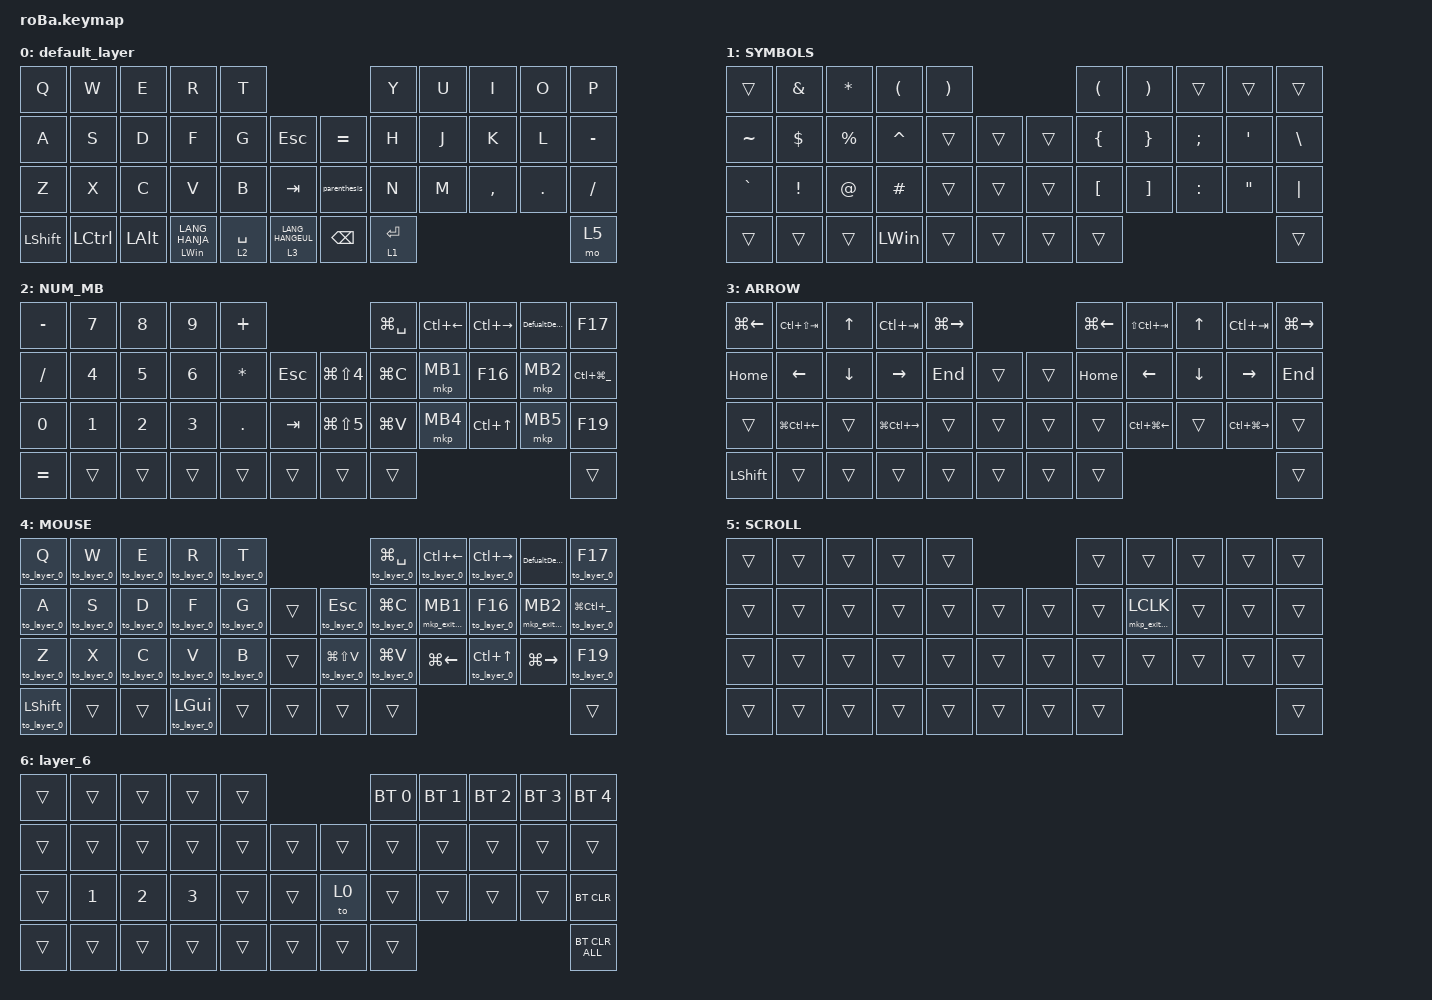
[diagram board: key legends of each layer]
#include <behaviors.dtsi>
#include <dt-bindings/zmk/bt.h>
#include <dt-bindings/zmk/keys.h>
#include <dt-bindings/zmk/pointing.h>

#define ZMK_POINTING_DEFAULT_SCRL_VAL 100
#define MOUSE 4
#define SCROLL 5
#define NUM 6

&mt {
    flavor = "hold-preferred";
    quick-tap-ms = <0>;
};

&sl { release-after-ms = <250>; };

/ {
    combos {
        compatible = "zmk,combos";

        LW {
            bindings = <&LW>;
            key-positions = <28 33>;
        };

        Lock {
            bindings = <&kp RC(LG(Q))>;
            key-positions = <27 28>;
        };

        BT {
            bindings = <&mo 6>;
            key-positions = <34 39>;
        };
    };

    macros {
        to_layer_0: to_layer_0 {
            compatible = "zmk,behavior-macro-one-param";
            #binding-cells = <1>;
            bindings = <&to 0 &macro_param_1to1 &kp MACRO_PLACEHOLDER>;
            label = "TO_LAYER_0";
        };

        mkp_exit_AML: mkp_exit_AML {
            compatible = "zmk,behavior-macro-one-param";
            #binding-cells = <1>;
            bindings =
                <&macro_press>,
                <&macro_param_1to1 &mkp MACRO_PLACEHOLDER>,
                <&macro_pause_for_release>,
                <&macro_release>,
                <&macro_param_1to1 &mkp MACRO_PLACEHOLDER>,
                <&macro_tap>,
                <&sl 4>;

            label = "MKP_EXIT_AML";
        };

        parenthesis: parenthesis {
            compatible = "zmk,behavior-macro";
            #binding-cells = <0>;
            bindings = <&kp LANG_HANJA &kp LEFT_PARENTHESIS &kp RIGHT_PARENTHESIS &kp LEFT_ARROW>;
            label = "parenthesis";
        };

        LW: LW {
            compatible = "zmk,behavior-macro";
            #binding-cells = <0>;
            bindings = <&kp B &kp E &kp G &kp P &kp LS(U) &kp N4 &kp MINUS &kp W &kp O &kp C &kp T &kp Y &kp W &kp MINUS &kp D &kp Y &kp K &kp N &kp A &kp Q &kp ENTER>;
            label = "LW";
        };

        DefualtDesktop: DefualtDesktop {
            compatible = "zmk,behavior-macro";
            #binding-cells = <0>;
            bindings =
                <&kp LC(NUMBER_1)>,
                <&macro_wait_time 200>,
                <&kp LC(NUMBER_3)>;

            label = "DEFUALTDESKTOP";
        };
    };

    behaviors {
        scroll_up_down: behavior_sensor_rotate_mouse_wheel_up_down {
            compatible = "zmk,behavior-sensor-rotate";
            #sensor-binding-cells = <0>;
            bindings = <&msc SCRL_DOWN>, <&msc SCRL_UP>;

            // 追加: スクロールのタップ時間を設定 (20ms)

            tap-ms = <20>;
        };

        multi_tap_tab_bspc: behavior_multi_tap {
            label = "MT_TAB_BSPC";
            #binding-cells = <0>;
            bindings = <&kp TAB>, <&kp BSPC>;

            max-taps = <2>;
            max-tap-interrupt-ms = <250>;
        };
    };

    keymap {
        compatible = "zmk,keymap";

        default_layer {
            bindings = <
&kp Q           &kp W      &kp E         &kp R                    &kp T                                               &kp Y        &kp U  &kp I      &kp O    &kp P
&kp A           &kp S      &kp D         &kp F                    &kp G        &kp ESCAPE              &kp EQUAL      &kp H        &kp J  &kp K      &kp L    &kp MINUS
&kp Z           &kp X      &kp C         &kp V                    &kp B        &kp TAB                 &parenthesis   &kp N        &kp M  &kp COMMA  &kp DOT  &kp SLASH
&kp LEFT_SHIFT  &kp LCTRL  &kp LEFT_ALT  &mt LEFT_WIN LANG_HANJA  &lt 2 SPACE  &lt 3 LANG_HANGEUL      &kp BACKSPACE  &lt 1 ENTER                             &mo 5
            >;
        };

        SYMBOLS {
            bindings = <
&trans     &kp AMPERSAND    &kp ASTERISK  &kp LEFT_PARENTHESIS  &kp RIGHT_PARENTHESIS                      &kp LEFT_PARENTHESIS  &kp RIGHT_PARENTHESIS  &trans         &trans             &trans
&kp TILDE  &kp DOLLAR       &kp PERCENT   &kp CARET             &trans                 &trans      &trans  &kp LEFT_BRACE        &kp RIGHT_BRACE        &kp SEMICOLON  &kp SINGLE_QUOTE   &kp BACKSLASH
&kp GRAVE  &kp EXCLAMATION  &kp AT_SIGN   &kp HASH              &trans                 &trans      &trans  &kp LEFT_BRACKET      &kp RIGHT_BRACKET      &kp COLON      &kp DOUBLE_QUOTES  &kp PIPE
&trans     &trans           &trans        &kp LEFT_WIN          &trans                 &trans      &trans  &trans                                                                         &trans
            >;
        };

        NUM_MB {
            bindings = <
&kp MINUS     &kp NUMBER_7  &kp NUMBER_8  &kp NUMBER_9  &kp PLUS                                            &kp LG(SPACE)  &kp LC(LEFT)  &kp LC(RIGHT)     &DefualtDesktop  &kp F17
&kp SLASH     &kp NUMBER_4  &kp NUMBER_5  &kp NUMBER_6  &kp ASTERISK  &kp ESCAPE      &kp LG(LS(NUMBER_4))  &kp LG(C)      &mkp MB1      &kp F16           &mkp MB2         &kp LC(LG(UNDERSCORE))
&kp NUMBER_0  &kp NUMBER_1  &kp NUMBER_2  &kp NUMBER_3  &kp PERIOD    &kp TAB         &kp LG(LS(NUMBER_5))  &kp LG(V)      &mkp MB4      &kp LC(UP_ARROW)  &mkp MB5         &kp F19
&kp EQUAL     &trans        &trans        &trans        &trans        &trans          &trans                &trans                                                          &trans
            >;
        };

        ARROW {
            bindings = <
&kp LG(LEFT_ARROW)  &kp LC(LS(TAB))         &kp UP_ARROW    &kp LC(TAB)              &kp LG(RIGHT_ARROW)                      &kp LG(LEFT_ARROW)  &kp LS(LC(TAB))         &kp UP_ARROW    &kp LC(TAB)              &kp LG(RIGHT_ARROW)
&kp HOME            &kp LEFT_ARROW          &kp DOWN_ARROW  &kp RIGHT_ARROW          &kp END              &trans      &trans  &kp HOME            &kp LEFT_ARROW          &kp DOWN_ARROW  &kp RIGHT_ARROW          &kp END
&trans              &kp LG(LC(LEFT_ARROW))  &trans          &kp LG(LC(RIGHT_ARROW))  &trans               &trans      &trans  &trans              &kp LC(LG(LEFT_ARROW))  &trans          &kp LC(LG(RIGHT_ARROW))  &trans
&kp LEFT_SHIFT      &trans                  &trans          &trans                   &trans               &trans      &trans  &trans                                                                               &trans
            >;
        };

        MOUSE {
            bindings = <
&to_layer_0 Q           &to_layer_0 W  &to_layer_0 E  &to_layer_0 R         &to_layer_0 T                                     &to_layer_0 LG(SPACE)  &to_layer_0 LC(LEFT_ARROW)  &to_layer_0 LC(RIGHT)     &DefualtDesktop    &to_layer_0 F17
&to_layer_0 A           &to_layer_0 S  &to_layer_0 D  &to_layer_0 F         &to_layer_0 G  &trans      &to_layer_0 ESCAPE     &to_layer_0 LG(C)      &mkp_exit_AML MB1           &to_layer_0 F16           &mkp_exit_AML MB2  &to_layer_0 LG(LC(UNDER))
&to_layer_0 Z           &to_layer_0 X  &to_layer_0 C  &to_layer_0 V         &to_layer_0 B  &trans      &to_layer_0 LG(LS(V))  &to_layer_0 LG(V)      &kp LG(LEFT)                &to_layer_0 LC(UP_ARROW)  &kp LG(RIGHT)      &to_layer_0 F19
&to_layer_0 LEFT_SHIFT  &trans         &trans         &to_layer_0 LEFT_GUI  &trans         &trans      &trans                 &trans                                                                                          &trans
            >;
        };

        SCROLL {
            bindings = <
&trans  &trans  &trans  &trans  &trans                      &trans  &trans              &trans  &trans  &trans
&trans  &trans  &trans  &trans  &trans  &trans      &trans  &trans  &mkp_exit_AML LCLK  &trans  &trans  &trans
&trans  &trans  &trans  &trans  &trans  &trans      &trans  &trans  &trans              &trans  &trans  &trans
&trans  &trans  &trans  &trans  &trans  &trans      &trans  &trans                                      &trans
            >;
        };

        layer_6 {
            bindings = <
&trans  &trans        &trans        &trans        &trans                      &bt BT_SEL 0  &bt BT_SEL 1  &bt BT_SEL 2  &bt BT_SEL 3  &bt BT_SEL 4
&trans  &trans        &trans        &trans        &trans  &trans      &trans  &trans        &trans        &trans        &trans        &trans
&trans  &kp NUMBER_1  &kp NUMBER_2  &kp NUMBER_3  &trans  &trans      &to 0   &trans        &trans        &trans        &trans        &bt BT_CLR
&trans  &trans        &trans        &trans        &trans  &trans      &trans  &trans                                                  &bt BT_CLR_ALL
            >;
        };
    };
};
